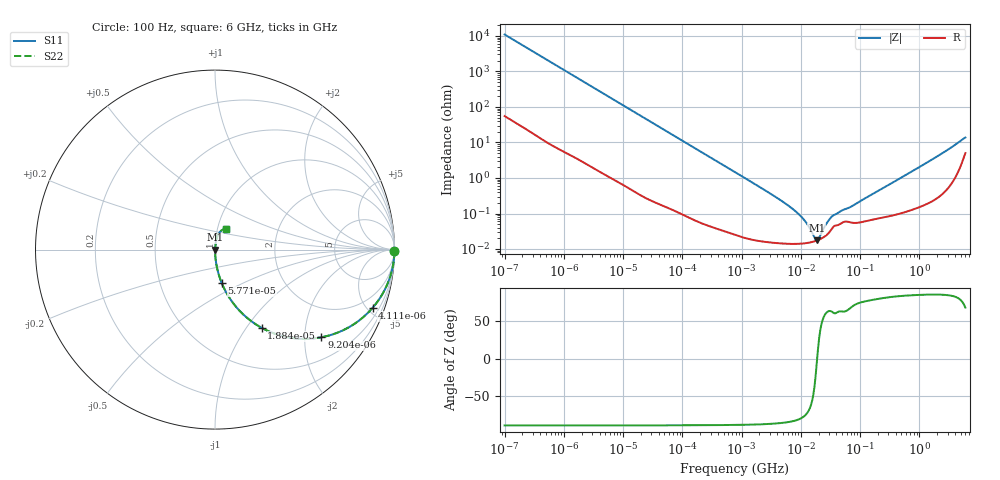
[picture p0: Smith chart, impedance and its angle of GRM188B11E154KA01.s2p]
!Murata Part Number: GRM188B11E154KA01
!These Parameters are Measured in Series Mode Connection
!Data Generated on Mar 30, 2021
!  o--ll--o
!Port1  Port2
!  o------o
!Operation Temp=25[degC], DC Bias Voltage=0[V]
!Freq. Start=100[Hz] Stop=6[GHz] 401[Steps]
# Hz S RI R 50
!Freq.(Hz) S11(Real) S11(Imag) S21(Real) S21(Imag) S12(Real) S12(Imag) S22(Real) S22(Imag)
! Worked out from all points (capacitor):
!   401 points, 100 Hz to 6 GHz, reference 50 ohm
!   read as one part in series: C = 145 nF near 109 Hz
!   lowest |Z| = 17.4 mohm at 18.61 MHz (marker M1)
!   series resonance near 18.86 MHz, so ESL is about 490 pH
!   S11 on the Smith chart (normalised r, x): 100 Hz: open; 4.111 kHz: 1.03, -5.39; 9.204 kHz: 1.01, -2.41; 18.84 kHz: 1.01, -1.18; 57.71 kHz: 1.00, -0.39; 6 GHz: 1.10, +0.26
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100  0.9999 -0.00913  0.000129 0.00913  0.000129 0.00913  0.9999 -0.00913
600  0.9968 -0.0543  0.00321 0.0543  0.00321 0.0543  0.9968 -0.0543
2008  0.9672 -0.1755  0.0328 0.1755  0.0328 0.1755  0.9672 -0.1755
4111  0.8777 -0.325  0.1223 0.325  0.1223 0.325  0.8777 -0.325
6151  0.7637 -0.422  0.2363 0.422  0.2363 0.422  0.7637 -0.422
9204  0.5926 -0.4885  0.4074 0.4885  0.4074 0.4885  0.5926 -0.4885
18841  0.2603 -0.4359  0.7397 0.4359  0.7397 0.4359  0.2603 -0.4359
40335  0.0727 -0.2563  0.9273 0.2563  0.9273 0.2563  0.0727 -0.2563
57709  0.0375 -0.1863  0.9625 0.1863  0.9625 0.1863  0.0375 -0.1863
169018  0.00502 -0.0661  0.995 0.0661  0.995 0.0661  0.00502 -0.0661
774597  0.000463 -0.0146  0.9995 0.0146  0.9995 0.0146  0.000463 -0.0146
6948629  0.000141 -0.00143  0.9999 0.00143  0.9999 0.00143  0.000141 -0.00143
1.137099e7  0.000145 -0.000645  0.9999 0.000645  0.9999 0.000645  0.000145 -0.000645
1.555665e7  0.000158 -0.000237  0.9998 0.000237  0.9998 0.000237  0.000158 -0.000237
1.701401e7  0.000165 -0.000127  0.9998 0.000127  0.9998 0.000127  0.000165 -0.000127
1.86079e7  0.000173 -1.65e-05  0.9998 1.65e-05  0.9998 1.65e-05  0.000173 -1.65e-05
2.035112e7  0.000184 9.37e-05  0.9998 -9.37e-05  0.9998 -9.37e-05  0.000184 9.37e-05
2.784235e7  0.000256 0.000496  0.9997 -0.000496  0.9997 -0.000496  0.000256 0.000496
3.482834e7  0.000408 0.00077  0.9996 -0.00077  0.9996 -0.00077  0.000408 0.00077
3.124326e8  0.000881 0.0065  0.9991 -0.0065  0.9991 -0.0065  0.000881 0.0065
3.065283e9  0.00904 0.0621  0.991 -0.0621  0.991 -0.0621  0.00904 0.0621
6e9  0.0618 0.1146  0.9382 -0.1146  0.9382 -0.1146  0.0618 0.1146
